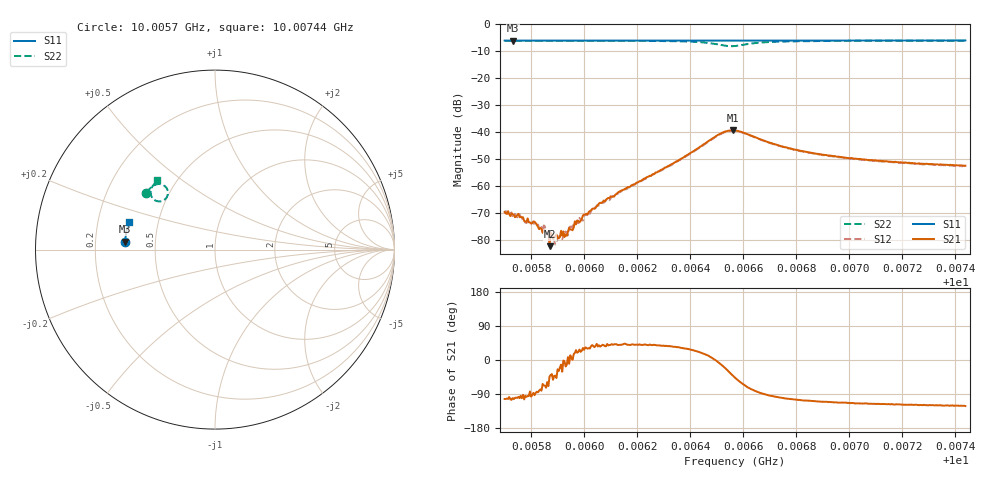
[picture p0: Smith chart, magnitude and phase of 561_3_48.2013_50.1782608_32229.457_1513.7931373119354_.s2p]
#  HZ  S  RI  R  50.00
! Rohde & Schwarz Vector Network Analyzer
! Rohde-Schwarz,ZNB20-2Port,1311601062101988,3.16
! Created: UTC 3/20/2024, 12:01:12 PM
! freq[Hz]  re:S11  im:S11  re:S21  im:S21  re:S12  im:S12  re:S22  im:S22
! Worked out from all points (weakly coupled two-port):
!   401 points, 10.0057 GHz to 10.00744 GHz, reference 50 ohm
!   highest |S21| = -39.21 dB at 10.00656 GHz (marker M1); lowest = -82.1 dB at 10.00587 GHz (marker M2)
!   lowest |S11| = -6.0 dB at 10.00573 GHz (marker M3), VSWR 3.01, Z = 16.6 + j1.94 ohm
!   |S11| at or under -10 dB: nowhere
!   |S22| runs from -8.1 to -6.0 dB; largest |S21 - S12| = 0.00072
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1.0005699e10  -0.5002 0.0415  -7.47e-05 -0.000328  -4.53e-05 -0.000313  -0.3824 0.3179
1.000573e10  -0.5 0.0436  -5.53e-05 -0.000301  -2.1e-05 -0.000262  -0.3809 0.3198
1.0005756e10  -0.4999 0.0454  -4.99e-05 -0.000265  -4.44e-05 -0.000304  -0.3795 0.3213
1.0005778e10  -0.4998 0.0467  -1.73e-05 -0.000221  3.01e-05 -0.000212  -0.3786 0.3227
1.0005812e10  -0.4997 0.049  -1.17e-05 -0.000222  2.71e-05 -0.000187  -0.3769 0.3249
1.0005834e10  -0.4995 0.0504  3.58e-05 -0.000166  2.6e-05 -0.000153  -0.3757 0.3262
1.0005856e10  -0.4994 0.0519  3.9e-05 -0.00013  4.99e-05 -0.000127  -0.3746 0.3275
1.0005869e10  -0.4994 0.0528  5.65e-05 -5.44e-05  6.83e-05 -8.52e-05  -0.3737 0.3284
1.0005891e10  -0.4993 0.0541  8.81e-05 -7.79e-05  7.77e-05 -3.2e-05  -0.3726 0.3298
1.0005912e10  -0.4992 0.0554  0.000148 -3.23e-05  0.000111 -1.88e-05  -0.3714 0.3311
1.0005934e10  -0.4989 0.057  0.000119 -2.62e-05  0.000143 -2.45e-05  -0.3703 0.3326
1.0005991e10  -0.4987 0.0607  0.000228 0.000104  0.000205 0.000144  -0.3668 0.3363
1.0006065e10  -0.4982 0.0654  0.00039 0.0003  0.000364 0.000309  -0.3619 0.3412
1.0006139e10  -0.4977 0.0703  0.000639 0.000534  0.000578 0.000558  -0.3562 0.3466
1.0006282e10  -0.4965 0.0794  0.0015 0.0012  0.00142 0.00126  -0.3402 0.3579
1.0006508e10  -0.4937 0.0941  0.00911 -0.00115  0.00894 -0.000619  -0.2642 0.3297
1.000656e10  -0.4931 0.0968  0.00828 -0.00717  0.00851 -0.00653  -0.2825 0.277
1.0006569e10  -0.493 0.0972  0.00746 -0.00791  0.00777 -0.00727  -0.2913 0.2721
1.000666e10  -0.4927 0.1029  0.000567 -0.00759  0.000891 -0.00746  -0.353 0.2942
1.0006861e10  -0.4905 0.1158  -0.0013 -0.00397  -0.00112 -0.00395  -0.3532 0.3424
1.0007152e10  -0.4866 0.1344  -0.00129 -0.00257  -0.00117 -0.0026  -0.3365 0.3684
1.0007439e10  -0.4817 0.1523  -0.00127 -0.00207  -0.00118 -0.00207  -0.3211 0.3851
